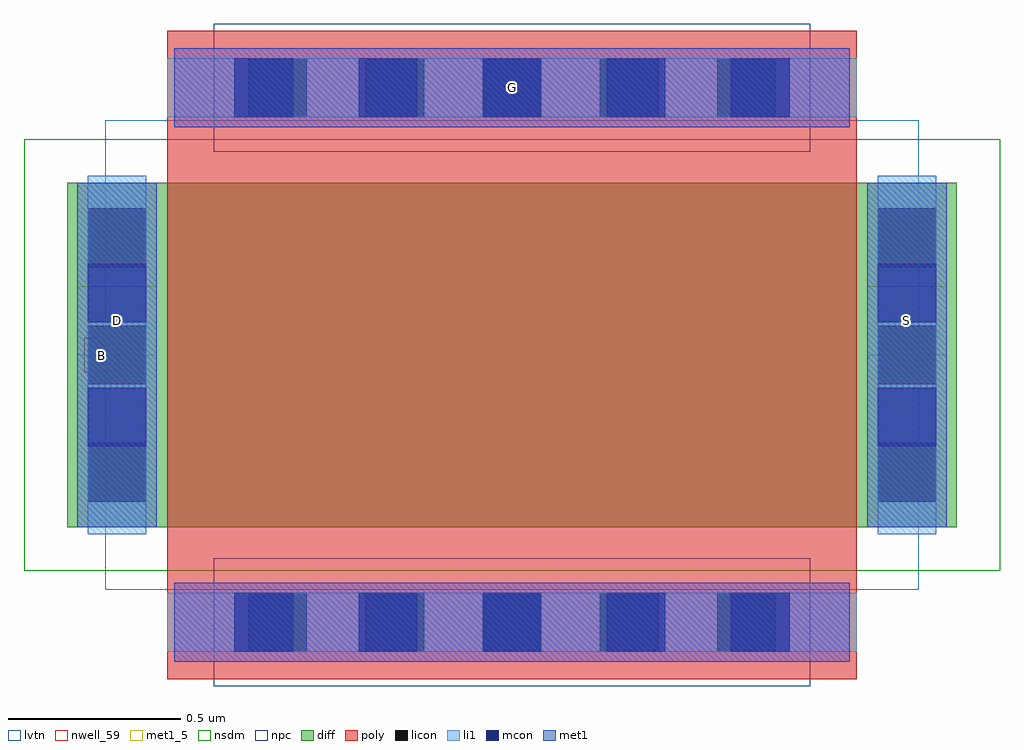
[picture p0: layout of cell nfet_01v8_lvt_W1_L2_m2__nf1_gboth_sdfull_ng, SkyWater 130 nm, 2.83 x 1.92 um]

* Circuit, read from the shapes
.subckt nfet_01v8_lvt_W1_L2_m2__nf1_gboth_sdfull_ng B D G S
XM1 S G D B sky130_fd_pr__nfet_01v8_lvt w=1 l=2
.ends

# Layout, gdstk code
import gdstk
lib = gdstk.Library(unit=1e-6, precision=1e-09)
def R(c, l, rs):  # rectangles x0, y0, x1, y1
    for r in rs: c.add(gdstk.rectangle(r[:2], r[2:], *l))
def A(c, l, x, y, w, h, nx, ny, dx, dy):  # array of equal rectangles
    R(c, l, [(x+i*dx, y+j*dy, x+i*dx+w, y+j*dy+h) for i in range(nx) for j in range(ny)])
nwell_59 = (64, 59)
diff = (65, 20)
poly = (66, 20)
licon = (66, 44)
li1 = (67, 20)
mcon = (67, 44)
met1_5 = (68, 5)
met1 = (68, 20)
nsdm = (93, 44)
npc = (95, 20)
lvtn = (125, 44)

sky130_fd_pr__nfet_01v8_ = lib.new_cell('sky130_fd_pr__nfet_01v8_lvt_SLTJA6')
R(sky130_fd_pr__nfet_01v8_, diff, [(-1.29,-0.5,1.29,0.5)])
R(sky130_fd_pr__nfet_01v8_, poly, [(-1,-0.94,1,0.94)])
A(sky130_fd_pr__nfet_01v8_, licon, -0.765, -0.86, 0.17, 0.17, 5, 2, 0.34, 1.55)
A(sky130_fd_pr__nfet_01v8_, licon, -1.23, -0.425, 0.17, 0.17, 1, 3, 0, 0.34)
A(sky130_fd_pr__nfet_01v8_, licon, 1.06, -0.425, 0.17, 0.17, 1, 3, 0, 0.34)
R(sky130_fd_pr__nfet_01v8_, li1, [(-1,-0.86,1,-0.69), (-1.23,-0.52,-1.06,0.52), (1.06,-0.52,1.23,0.52), (-1,0.69,1,0.86)])
A(sky130_fd_pr__nfet_01v8_, mcon, -0.805, -0.86, 0.17, 0.17, 5, 2, 0.36, 1.55)
R(sky130_fd_pr__nfet_01v8_, mcon, [(-1.23,-0.265,-1.06,-0.095), (1.06,-0.265,1.23,-0.095), (-1.23,0.095,-1.06,0.265), (1.06,0.095,1.23,0.265)])
R(sky130_fd_pr__nfet_01v8_, met1, [(-0.98,-0.89,0.98,-0.66), (-1.26,-0.5,-1.03,0.5), (1.03,-0.5,1.26,0.5), (-0.98,0.66,0.98,0.89)])
R(sky130_fd_pr__nfet_01v8_, nsdm, [(-1.415,-0.625,1.415,0.625)])
R(sky130_fd_pr__nfet_01v8_, npc, [(-0.865,-0.96,0.865,-0.59), (-0.865,0.59,0.865,0.96)])
R(sky130_fd_pr__nfet_01v8_, lvtn, [(-1.18,-0.68,1.18,0.68)])
sky130_fd_pr__nfet_01v8_.add(gdstk.Label('D', (-1.145,0), layer=67, texttype=5))
sky130_fd_pr__nfet_01v8_.add(gdstk.Label('S', (1.145,0), layer=67, texttype=5))
sky130_fd_pr__nfet_01v8_.add(gdstk.Label('G', (0,0.775), layer=67, texttype=5))

nfet_01v8_lvt_w1_l2_m2__ = lib.new_cell('nfet_01v8_lvt_W1_L2_m2__nf1_gboth_sdfull_ng')
R(nfet_01v8_lvt_w1_l2_m2__, nwell_59, [(0.05,0.89,0.15,0.99)])
R(nfet_01v8_lvt_w1_l2_m2__, met1_5, [(0.03,0.94,0.26,1.14), (2.32,0.94,2.55,1.14), (0.31,1.6,2.27,1.83)])
R(nfet_01v8_lvt_w1_l2_m2__, met1, [(0.03,0.94,0.26,1.14), (2.32,0.94,2.55,1.14), (0.31,1.6,2.27,1.83)])
nfet_01v8_lvt_w1_l2_m2__.add(gdstk.Reference(sky130_fd_pr__nfet_01v8_, (1.29,0.94)))
nfet_01v8_lvt_w1_l2_m2__.add(gdstk.Label('D', (0.145,1.04), layer=68, texttype=5))
nfet_01v8_lvt_w1_l2_m2__.add(gdstk.Label('S', (2.435,1.04), layer=68, texttype=5))
nfet_01v8_lvt_w1_l2_m2__.add(gdstk.Label('G', (1.29,1.715), layer=68, texttype=5))
nfet_01v8_lvt_w1_l2_m2__.add(gdstk.Label('B', (0.1,0.94), layer=64, texttype=59))

lib.write_gds('nfet_01v8_lvt_W1_L2_m2__nf1_gboth_sdfull_ng.gds')
